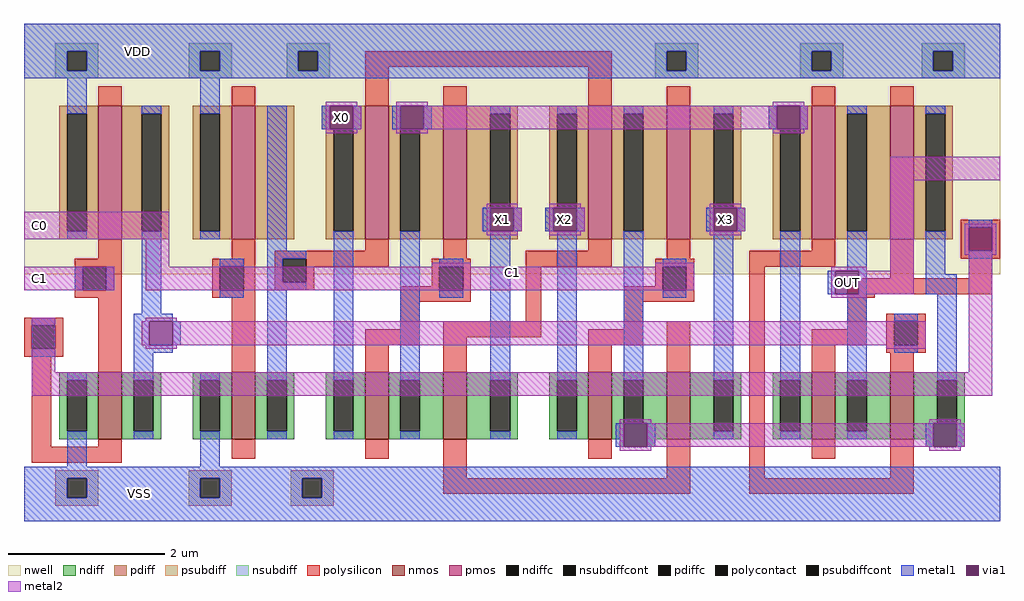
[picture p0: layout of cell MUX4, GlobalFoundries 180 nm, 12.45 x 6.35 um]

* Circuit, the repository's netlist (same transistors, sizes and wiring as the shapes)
* NGSPICE file created from MUX4.ext - technology: gf180mcuC

.subckt MUX4 X0 C1 X1 X2 X3 OUT C0 VDD VSS
X0 a_1160_210# a_1670_160# OUT VDD pfet_03v3 ad=0.85p pd=4.4u as=0.595p ps=2.4u w=1.7u l=0.3u
X1 X1 a_250_210# a_590_210# VSS nfet_03v3 ad=0.5525p pd=3u as=0.2975p ps=1.55u w=0.85u l=0.3u
X2 X3 a_250_210# a_1160_210# VSS nfet_03v3 ad=0.5525p pd=3u as=0.32p ps=1.65u w=0.85u l=0.3u
X3 X1 a_530_160# a_590_210# VDD pfet_03v3 ad=1.12p pd=4.8u as=0.595p ps=2.4u w=1.7u l=0.3u
X4 a_n90_210# a_n340_420# VSS VSS nfet_03v3 ad=0.425p pd=2.7u as=0.425p ps=2.7u w=0.85u l=0.3u
X5 X3 a_1100_160# a_1160_210# VDD pfet_03v3 ad=1.12p pd=4.8u as=0.595p ps=2.4u w=1.7u l=0.3u
X6 a_250_210# a_140_570# VSS VSS nfet_03v3 ad=0.425p pd=2.7u as=0.425p ps=2.7u w=0.85u l=0.3u
X7 OUT a_1670_160# a_590_210# VSS nfet_03v3 ad=0.2975p pd=1.55u as=0.425p ps=2.7u w=0.85u l=0.3u
X8 a_n90_210# a_n340_420# VDD VDD pfet_03v3 ad=1.02p pd=4.6u as=0.85p ps=4.4u w=1.7u l=0.3u
X9 a_250_720# a_140_570# VDD VDD pfet_03v3 ad=0.85p pd=4.4u as=0.85p ps=4.4u w=1.7u l=0.3u
X10 OUT a_1510_70# a_590_210# VDD pfet_03v3 ad=0.595p pd=2.4u as=0.865p ps=4.5u w=1.7u l=0.3u
X11 a_590_210# a_530_160# X0 VSS nfet_03v3 ad=0.2975p pd=1.55u as=0.425p ps=2.7u w=0.85u l=0.3u
X12 a_1160_210# a_1100_160# X2 VSS nfet_03v3 ad=0.32p pd=1.65u as=0.425p ps=2.7u w=0.85u l=0.3u
X13 a_590_210# a_250_210# X0 VDD pfet_03v3 ad=0.595p pd=2.4u as=0.865p ps=4.5u w=1.7u l=0.3u
X14 a_1160_210# a_1510_70# OUT VSS nfet_03v3 ad=0.6025p pd=3.2u as=0.2975p ps=1.55u w=0.85u l=0.3u
X15 a_1160_210# a_250_210# X2 VDD pfet_03v3 ad=0.595p pd=2.4u as=0.865p ps=4.5u w=1.7u l=0.3u
.ends

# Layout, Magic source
magic
tech gf180mcuC
<< nwell >>
rect -34 63 215 127
<< nmos >>
rect -15 21 -9 38
rect 19 21 25 38
rect 53 21 59 38
rect 73 21 79 38
rect 110 21 116 38
rect 130 21 136 38
rect 167 21 173 38
rect 187 21 193 38
<< pmos >>
rect -15 72 -9 106
rect 19 72 25 106
rect 53 72 59 106
rect 73 72 79 106
rect 110 72 116 106
rect 130 72 136 106
rect 167 72 173 106
rect 187 72 193 106
<< ndiff >>
rect -25 36 -15 38
rect -25 23 -23 36
rect -18 23 -15 36
rect -25 21 -15 23
rect -9 36 1 38
rect -9 23 -6 36
rect -1 23 1 36
rect -9 21 1 23
rect 9 36 19 38
rect 9 23 11 36
rect 16 23 19 36
rect 9 21 19 23
rect 25 36 35 38
rect 25 23 28 36
rect 33 23 35 36
rect 25 21 35 23
rect 43 36 53 38
rect 43 23 45 36
rect 50 23 53 36
rect 43 21 53 23
rect 59 36 73 38
rect 59 23 62 36
rect 67 23 73 36
rect 59 21 73 23
rect 79 36 92 38
rect 79 23 85 36
rect 90 23 92 36
rect 79 21 92 23
rect 100 36 110 38
rect 100 23 102 36
rect 107 23 110 36
rect 100 21 110 23
rect 116 36 130 38
rect 116 25 119 36
rect 124 25 130 36
rect 116 21 130 25
rect 136 36 149 38
rect 136 23 142 36
rect 147 23 149 36
rect 136 21 149 23
rect 118 19 127 21
rect 157 36 167 38
rect 157 23 159 36
rect 164 23 167 36
rect 157 21 167 23
rect 173 36 187 38
rect 173 23 176 36
rect 181 23 187 36
rect 173 21 187 23
rect 193 36 206 38
rect 193 25 199 36
rect 204 25 206 36
rect 193 21 206 25
rect 196 19 206 21
<< pdiff >>
rect -25 104 -15 106
rect -25 74 -23 104
rect -18 74 -15 104
rect -25 72 -15 74
rect -9 104 3 106
rect -9 74 -4 104
rect 1 74 3 104
rect -9 72 3 74
rect 9 104 19 106
rect 9 74 11 104
rect 16 74 19 104
rect 9 72 19 74
rect 25 72 35 106
rect 42 100 53 106
rect 43 74 45 100
rect 50 74 53 100
rect 43 72 53 74
rect 59 100 73 106
rect 59 74 62 100
rect 67 74 73 100
rect 59 72 73 74
rect 79 104 92 106
rect 79 80 85 104
rect 90 80 92 104
rect 100 104 110 106
rect 100 80 102 104
rect 107 80 110 104
rect 79 74 93 80
rect 99 74 110 80
rect 79 72 92 74
rect 100 72 110 74
rect 116 104 130 106
rect 116 74 119 104
rect 124 74 130 104
rect 116 72 130 74
rect 136 104 149 106
rect 136 80 142 104
rect 147 80 149 104
rect 156 100 167 106
rect 136 74 150 80
rect 157 74 159 100
rect 164 74 167 100
rect 136 72 149 74
rect 157 72 167 74
rect 173 104 187 106
rect 173 74 176 104
rect 181 74 187 104
rect 173 72 187 74
rect 193 104 203 106
rect 193 74 196 104
rect 201 74 203 104
rect 193 72 203 74
<< ndiffc >>
rect -23 23 -18 36
rect -6 23 -1 36
rect 11 23 16 36
rect 28 23 33 36
rect 45 23 50 36
rect 62 23 67 36
rect 85 23 90 36
rect 102 23 107 36
rect 119 25 124 36
rect 142 23 147 36
rect 159 23 164 36
rect 176 23 181 36
rect 199 25 204 36
<< pdiffc >>
rect -23 74 -18 104
rect -4 74 1 104
rect 11 74 16 104
rect 45 74 50 100
rect 62 74 67 100
rect 85 80 90 104
rect 102 80 107 104
rect 119 74 124 104
rect 142 80 147 104
rect 159 74 164 100
rect 176 74 181 104
rect 196 74 201 104
<< psubdiff >>
rect -26 11 -15 13
rect -26 6 -23 11
rect -18 6 -15 11
rect -26 4 -15 6
rect 8 11 19 13
rect 8 6 11 11
rect 16 6 19 11
rect 8 4 19 6
rect 34 11 45 13
rect 34 6 37 11
rect 42 6 45 11
rect 34 4 45 6
<< nsubdiff >>
rect -26 120 -15 122
rect -26 115 -23 120
rect -18 115 -15 120
rect -26 113 -15 115
rect 8 120 19 122
rect 8 115 11 120
rect 16 115 19 120
rect 8 113 19 115
rect 33 120 44 122
rect 127 120 138 122
rect 33 115 36 120
rect 41 115 44 120
rect 33 113 44 115
rect 127 115 130 120
rect 135 115 138 120
rect 127 113 138 115
rect 164 120 175 122
rect 164 115 167 120
rect 172 115 175 120
rect 164 113 175 115
rect 195 120 206 122
rect 195 115 198 120
rect 203 115 206 120
rect 195 113 206 115
<< psubdiffcont >>
rect -23 6 -18 11
rect 11 6 16 11
rect 37 6 42 11
<< nsubdiffcont >>
rect -23 115 -18 120
rect 11 115 16 120
rect 36 115 41 120
rect 130 115 135 120
rect 167 115 172 120
rect 198 115 203 120
<< polysilicon >>
rect 53 116 116 120
rect -15 106 -9 111
rect 19 106 25 111
rect 53 106 59 116
rect 73 106 79 111
rect 110 106 116 116
rect 130 106 136 111
rect 167 106 173 111
rect 187 106 193 111
rect -15 67 -9 72
rect 19 67 25 72
rect 53 69 59 72
rect -21 65 -9 67
rect -21 59 -19 65
rect -13 59 -9 65
rect -21 57 -9 59
rect 14 65 25 67
rect 14 59 16 65
rect 22 59 25 65
rect 30 67 59 69
rect 73 67 79 72
rect 110 69 116 72
rect 30 61 32 67
rect 38 65 59 67
rect 70 65 80 67
rect 38 61 40 65
rect 30 59 40 61
rect 70 60 72 65
rect 62 59 72 60
rect 78 59 80 65
rect 14 57 25 59
rect -34 50 -24 52
rect -34 44 -32 50
rect -26 44 -24 50
rect -34 42 -24 44
rect -32 19 -27 42
rect -15 38 -9 57
rect 19 38 25 57
rect 62 56 80 59
rect 94 65 116 69
rect 130 67 136 72
rect 167 69 173 72
rect 127 65 137 67
rect 62 49 67 56
rect 94 51 98 65
rect 127 60 129 65
rect 53 45 67 49
rect 73 47 98 51
rect 119 59 129 60
rect 135 59 137 65
rect 119 56 137 59
rect 151 65 173 69
rect 119 49 124 56
rect 53 38 59 45
rect 73 38 79 47
rect 110 45 124 49
rect 110 38 116 45
rect 130 38 136 51
rect -15 19 -9 21
rect -32 15 -9 19
rect 19 16 25 21
rect 53 16 59 21
rect 73 11 79 21
rect 110 16 116 21
rect 130 11 136 21
rect 73 7 136 11
rect 151 11 155 65
rect 187 62 193 72
rect 205 67 215 77
rect 207 62 213 67
rect 178 61 213 62
rect 176 58 213 61
rect 176 57 183 58
rect 176 49 181 57
rect 167 45 181 49
rect 186 51 196 53
rect 186 45 188 51
rect 194 45 196 51
rect 167 38 173 45
rect 186 43 196 45
rect 187 38 193 43
rect 167 16 173 21
rect 187 11 193 21
rect 151 7 193 11
<< polycontact >>
rect -19 59 -13 65
rect 16 59 22 65
rect 32 61 38 67
rect 72 59 78 65
rect -32 44 -26 50
rect 129 59 135 65
rect 188 45 194 51
<< metal1 >>
rect -34 120 215 127
rect -34 115 -23 120
rect -18 115 11 120
rect 16 115 36 120
rect 41 115 130 120
rect 135 115 167 120
rect 172 115 198 120
rect 203 115 215 120
rect -34 113 215 115
rect -23 104 -18 113
rect -23 72 -18 74
rect -4 104 1 106
rect -21 59 -19 65
rect -13 59 -11 65
rect -4 53 1 74
rect 11 104 16 113
rect 11 72 16 74
rect 28 69 33 106
rect 42 100 44 106
rect 50 100 52 106
rect 60 100 62 106
rect 68 100 70 106
rect 85 104 90 106
rect 28 67 38 69
rect 16 65 22 67
rect 16 57 22 59
rect 28 61 32 67
rect 28 59 38 61
rect -32 50 -26 52
rect -32 42 -26 44
rect -6 51 4 53
rect -6 45 -2 51
rect 4 45 6 51
rect -6 43 4 45
rect -23 36 -18 38
rect -23 14 -18 23
rect -6 36 -1 43
rect -6 21 -1 23
rect 11 36 16 38
rect 11 14 16 23
rect 28 36 33 59
rect 28 21 33 23
rect 45 36 50 74
rect 45 21 50 23
rect 102 104 107 106
rect 119 104 124 106
rect 83 74 85 80
rect 91 74 93 80
rect 99 74 101 80
rect 107 74 109 80
rect 142 104 147 106
rect 156 100 158 106
rect 164 100 166 106
rect 176 104 181 106
rect 140 74 142 80
rect 148 74 150 80
rect 62 36 67 74
rect 72 65 78 67
rect 72 57 78 59
rect 62 21 67 23
rect 85 36 90 74
rect 85 21 90 23
rect 102 36 107 74
rect 119 36 124 74
rect 129 65 135 67
rect 129 57 135 59
rect 142 36 147 74
rect 102 21 107 23
rect 117 19 119 25
rect 125 19 127 25
rect 142 21 147 23
rect 159 36 164 74
rect 176 64 181 74
rect 171 58 173 64
rect 179 58 181 64
rect 196 104 201 106
rect 196 63 201 74
rect 207 75 213 77
rect 207 67 213 69
rect 196 58 204 63
rect 159 21 164 23
rect 176 36 181 58
rect 188 51 194 53
rect 188 43 194 45
rect 199 36 204 58
rect 176 21 181 23
rect 196 19 198 25
rect 204 19 206 25
rect -34 11 215 14
rect -34 6 -23 11
rect -18 6 11 11
rect 16 6 37 11
rect 42 6 215 11
rect -34 0 215 6
<< via1 >>
rect 44 100 50 106
rect 62 100 68 106
rect -2 45 4 51
rect 85 74 91 80
rect 101 74 107 80
rect 158 100 164 106
rect 142 74 148 80
rect 119 19 125 25
rect 173 58 179 64
rect 207 69 213 75
rect 198 19 204 25
<< metal2 >>
rect 43 106 51 107
rect 61 106 69 107
rect 157 106 165 107
rect 43 100 44 106
rect 50 100 52 106
rect 61 100 62 106
rect 68 100 158 106
rect 164 100 166 106
rect 43 99 51 100
rect 61 99 69 100
rect 157 99 165 100
rect 187 87 215 93
rect 84 80 92 81
rect 100 80 108 81
rect 141 80 149 81
rect -34 72 3 79
rect 84 74 85 80
rect 91 74 93 80
rect 100 74 101 80
rect 107 74 109 80
rect 141 74 142 80
rect 148 74 150 80
rect 84 73 92 74
rect 100 73 108 74
rect 141 73 149 74
rect -3 65 3 72
rect 70 65 80 66
rect 127 65 137 66
rect -34 59 -11 65
rect -3 59 137 65
rect 172 64 181 65
rect 187 64 193 87
rect 206 75 214 76
rect 206 69 207 75
rect 213 69 214 75
rect 206 68 214 69
rect 172 58 173 64
rect 179 58 193 64
rect 172 57 181 58
rect -32 38 -26 52
rect -3 51 5 52
rect -4 45 -2 51
rect 4 45 196 51
rect -3 44 5 45
rect 186 44 196 45
rect 207 38 213 68
rect -32 32 213 38
rect 118 25 126 26
rect 197 25 205 26
rect 118 19 119 25
rect 125 19 198 25
rect 204 19 206 25
rect 118 18 126 19
rect 197 18 205 19
<< labels >>
rlabel space -34 0 215 127 1 C1
port 2 n
rlabel metal2 173 58 179 64 0 OUT
port 6 nsew
rlabel metal2 142 74 148 80 0 X3
port 5 nsew
rlabel metal2 44 100 50 106 0 X0
port 1 nsew
rlabel metal2 85 74 91 80 0 X1
port 3 nsew
rlabel metal2 101 74 107 80 0 X2
port 4 nsew
rlabel metal2 -34 72 -26 79 0 C0
port 7 nsew
rlabel metal2 -34 59 -26 65 0 C1
port 2 nsew
rlabel metal1 -12 113 2 127 0 VDD
port 8 nsew
rlabel metal1 -12 0 3 14 0 VSS
port 9 nsew
<< end >>
